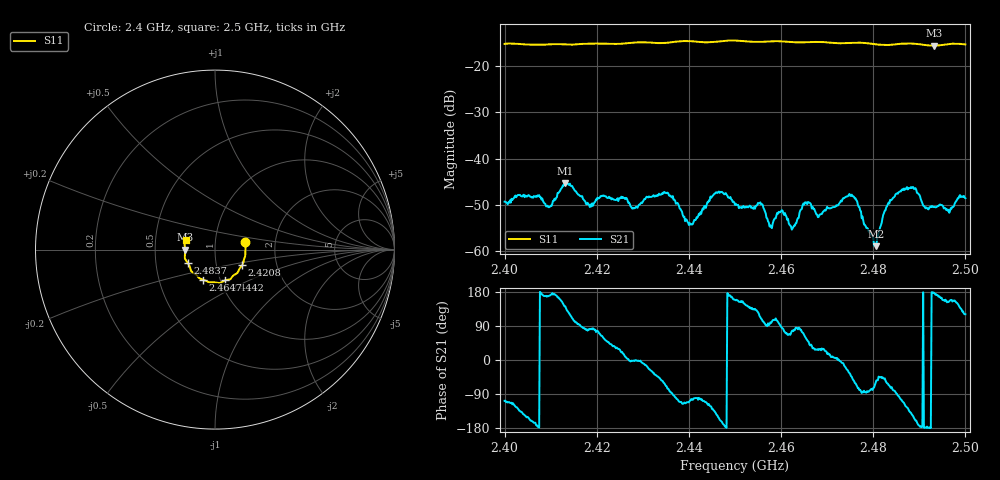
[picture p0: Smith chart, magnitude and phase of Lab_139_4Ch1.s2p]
# Hz S RI R 50
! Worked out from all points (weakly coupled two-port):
!   601 points, 2.4 GHz to 2.5 GHz, reference 50 ohm
!   highest |S21| = -45.35 dB at 2.4132 GHz (marker M1); lowest = -58.9 dB at 2.4807 GHz (marker M2)
!   lowest |S11| = -15.6 dB at 2.4932 GHz (marker M3), VSWR 1.40, Z = 35.8 - j0.0856 ohm
!   |S11| at or under -10 dB: start of sweep to end of sweep
!   S12 and S22 are empty: the file has one direction only
!   S11 on the Smith chart (normalised r, x): 2.4 GHz: 1.40, +0.12; 2.4208 GHz: 1.33, -0.24; 2.4442 GHz: 1.05, -0.37; 2.4647 GHz: 0.83, -0.29; 2.4837 GHz: 0.73, -0.11; 2.5 GHz: 0.72, +0.08
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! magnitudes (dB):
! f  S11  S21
! 2.4 GHz  -15.2  -49.3
! 2.4097 GHz  -15.3  -50.5
! 2.4132 GHz  -15.3  -45.3
! 2.4167 GHz  -15.2  -48.2
! 2.4208 GHz  -15.2  -48.1
! 2.4282 GHz  -15.0  -50.7
! 2.4333 GHz  -15.1  -48.0
! 2.4403 GHz  -14.6  -54.2
! 2.4442 GHz  -14.9  -49.4
! 2.4468 GHz  -14.7  -47.2
! 2.45 GHz  -14.5  -50.0
! 2.4625 GHz  -14.8  -55.0
! 2.4647 GHz  -14.9  -50.0
! 2.4667 GHz  -14.8  -50.8
! 2.4683 GHz  -14.8  -52.1
! 2.4753 GHz  -15.0  -47.8
! 2.4807 GHz  -15.3  -58.9
! 2.4833 GHz  -15.5  -49.5
! 2.4837 GHz  -15.5  -48.9
! 2.4887 GHz  -15.2  -46.1
! 2.4932 GHz  -15.6  -50.5
! 2.5 GHz  -15.3  -48.5
